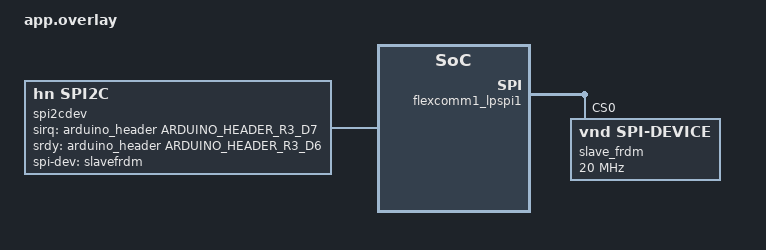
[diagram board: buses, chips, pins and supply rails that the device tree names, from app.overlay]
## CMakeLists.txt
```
cmake_minimum_required(VERSION 3.20.0)
list(APPEND ZEPHYR_EXTRA_MODULES
  /home/bionet-caleb/testing/zephyr-testing/modules/data-container
)
find_package(Zephyr REQUIRED HINTS $ENV{ZEPHYR_BASE})
project(spi2c-speed-test-slave)

target_sources(app PRIVATE src/main.c)
```

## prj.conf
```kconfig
CONFIG_HN_SPI2C=y
CONFIG_LOG_MODE_DEFERRED=y
CONFIG_DATA_CONTAINER=y
CONFIG_SPI=y
CONFIG_SPI_NXP_LPSPI=y
CONFIG_SPI_NXP_LPSPI_DMA=n
CONFIG_DMA=y
CONFIG_SPI_ASYNC=y
CONFIG_SPI_SLAVE=y
CONFIG_GPIO=y
CONFIG_CRC=y
CONFIG_MAIN_STACK_SIZE=8192
CONFIG_MAX_SPI2C_TRANSACTION_SIZE=512
CONFIG_SPEED_OPTIMIZATIONS=y
```

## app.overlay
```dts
&flexcomm1_lpspi1 {
	//transfer-delay = <100>;
	//sck-pcs-delay = <200>;
	//pcs-sck-delay = <200>;
	slavefrdm: slavefrdm@0 {
		compatible = "vnd,spi-device";
		reg = <0>;
		spi-max-frequency = <20000000>;
		label = "slave_frdm";
	};
};

&flexcomm1 {
	interrupts = <36 0>;
};

/ {
	dcontainer: dcontainer {
		compatible = "data,container";
		status = "okay";
	};

	spi2cdev: spi2cdev {
		compatible = "hn,spi2c";
		custom-devs = <&dcontainer>;
		sirq-gpios = <&arduino_header ARDUINO_HEADER_R3_D7 GPIO_ACTIVE_HIGH>;
		srdy-gpios = <&arduino_header ARDUINO_HEADER_R3_D6 GPIO_ACTIVE_HIGH>;
		spi-dev = <&slavefrdm>;
	};
};
```

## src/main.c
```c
#include <zephyr/device.h>
#include <zephyr/devicetree.h>
#include <zephyr/kernel.h>
#include <zephyr/drivers/clock_control.h>
#include <spi2c-com.h>

const struct device *dev = DEVICE_DT_GET(DT_NODELABEL(spi2cdev));


int main(void) {
	int rate;
	clock_control_get_rate(DEVICE_DT_GET(DT_CLOCKS_CTLR(DT_NODELABEL(flexcomm1_lpspi1))),
                       (clock_control_subsys_t)DT_CLOCKS_CELL(DT_NODELABEL(flexcomm1_lpspi1), name),
                       &rate);
	printk("LPSPI peripheral clock: %u Hz\n", rate);
	printk("packet_in size: %d\n", sizeof(spi2c_packet_in_t));
	spi2c_begin_com(dev);
	printk("spi2c driver started\n");
	for (;;) { k_msleep(1000); }
	return 0;
}
```
